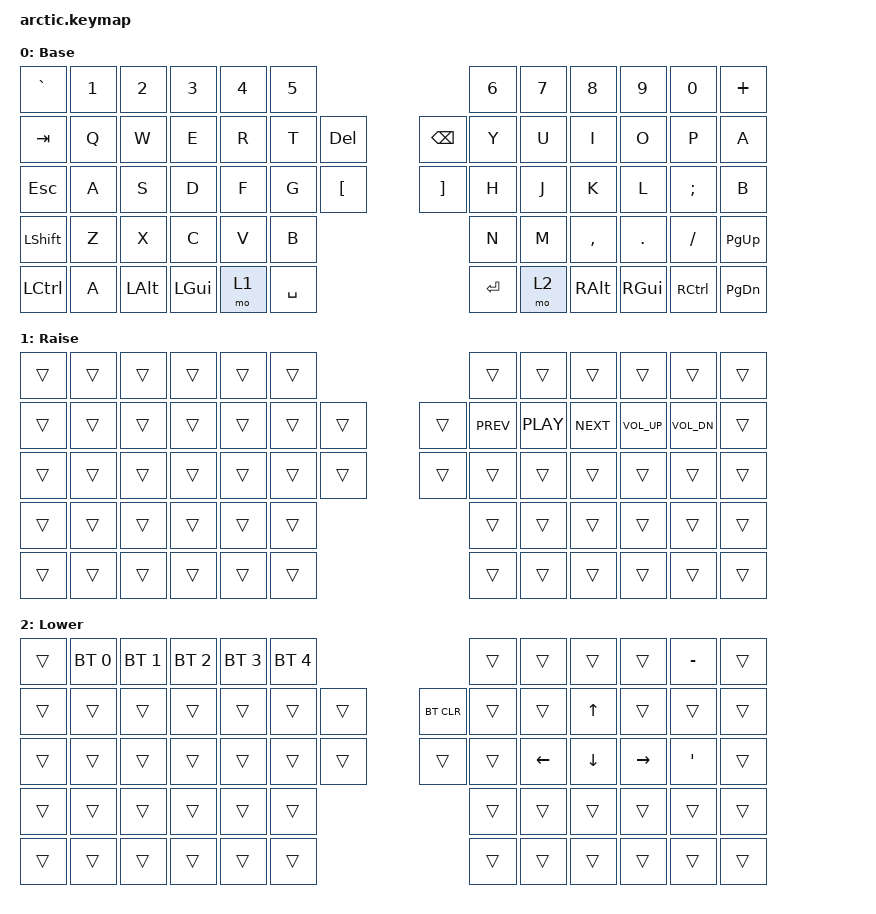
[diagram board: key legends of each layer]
/*
 * Copyright (c) 2020 The ZMK Contributors
 *
 * SPDX-License-Identifier: MIT
 */

#include <behaviors.dtsi>
#include <dt-bindings/zmk/keys.h>
#include <dt-bindings/zmk/bt.h>

/ {
        keymap {
                compatible = "zmk,keymap";

                base_layer {
                        display-name = "Base";
// -----------------------------------------------------------------------------------------
// | `~     |  1      |  2   |  3      |  4     |  5   |                                      |  6  |    7      |  8  |  9  |  0   | PLUS   |
// | TAB    |  Q      |  W   |  E      |  R     |  T   | DEL |              | BKS             |  Y  |    U      |  I  |  O  |  P   | HOME   |
// | ESC    |  A      |  S   |  D      |  F     |  G   |  [                 |  ]              |  H  |    J      |  K  |  L  |  ;   | END    |
// | SHIFT  |  Z      |  X   |  C      |  V     |  B   |                                      |  N  |    M      |  ,  |  .  |  \   | PGUP   |
// | CTRL   | FN      |      | ALT     | CMD    | UPP  | SPC |              | ENT             | LWR |   ALT     | CMD |     | CTRL | PGDOWN |
                        bindings = <
   &kp GRAVE &kp N1    &kp N2 &kp N3    &kp N4   &kp N5                                        &kp N6  &kp N7    &kp N8     &kp N9   &kp N0    &kp PLUS
   &kp TAB   &kp Q     &kp W  &kp E     &kp R    &kp T  &kp DEL              &kp BSPC          &kp Y   &kp U     &kp I      &kp O    &kp P     &kp A
   &kp ESC   &kp A     &kp S  &kp D     &kp F    &kp G  &kp LEFT_BRACKET     &kp RIGHT_BRACKET &kp H   &kp J     &kp K      &kp L    &kp SEMI  &kp B
   &kp LSHFT &kp Z     &kp X  &kp C     &kp V    &kp B                                         &kp N   &kp M     &kp COMMA  &kp DOT  &kp FSLH  &kp PAGE_UP
   &kp LCTRL &kp A        &kp LALT  &kp LGUI &mo 1  &kp SPACE            &kp RET           &mo 2   &kp RALT  &kp RGUI            &kp RCTRL &kp PAGE_DOWN
                        >;
                };
                raise_layer {
                        display-name = "Raise";
// -----------------------------------------------------------------------------------------
// |  |  |  |  |  |  |                   |      |      |      |        |          | |
// |  |  |  |  |  |  |  |              | | PREV | PLAY | NEXT | VOL UP | VOL DOWN | |
// |  |  |  |  |  |  |  |              | |      |      |      |        |          | |
// |  |  |  |  |  |  |                   |      |      |      |        |          | |
// |  |  |  |  |  |  |  |              | |      |      |      |        |          | |
                        bindings = <
   &trans &trans &trans &trans &trans &trans                   &trans  &trans  &trans  &trans    &trans    &trans
   &trans &trans &trans &trans &trans &trans &trans     &trans &kp C_PREV &kp C_PLAY &kp C_NEXT &kp C_VOL_UP &kp C_VOL_DN &trans
   &trans &trans &trans &trans &trans &trans &trans     &trans &trans  &trans  &trans  &trans    &trans    &trans
   &trans &trans &trans &trans &trans &trans                   &trans  &trans  &trans  &trans    &trans    &trans
   &trans        &trans &trans &trans &trans &trans     &trans &trans  &trans  &trans  &trans              &trans
                        >;
                };

                lower_layer {
                        display-name = "Lower";
                        // -----------------------------------------------------------------------------------------
// |  | BT1  | BT2 | BT3 | BT4 | BT5 |                   | |     |      |       | MINUS | |
// |  |  |  |  |  |  |  |              | BTCLR | |     |  UP  |       |       | |
// |  |  |  |  |  |  |  |              | | | LEFT| DOWN | RIGHT | QUOTE | |
// |  |  |  |  |  |  |                   | |     |      |       |       | |
// |  |  |  |  |  |  |  |              | | |     |      |       |       | |
                        bindings = <
   &trans &bt BT_SEL 0  &bt BT_SEL 1 &bt BT_SEL 2  &bt BT_SEL 3  &bt BT_SEL 4                       &trans &trans         &trans         &trans          &kp MINUS           &trans
   &trans &trans        &trans       &trans        &trans        &trans       &trans        &bt BT_CLR &trans &trans         &kp UP_ARROW   &trans          &trans           &trans
   &trans &trans        &trans       &trans        &trans        &trans       &trans        &trans     &trans &kp LEFT_ARROW &kp DOWN_ARROW &kp RIGHT_ARROW &kp SINGLE_QUOTE &trans
   &trans &trans        &trans       &trans        &trans        &trans                                &trans &trans         &trans         &trans          &trans           &trans
   &trans               &trans       &trans        &trans        &trans       &trans        &trans     &trans &trans         &trans         &trans                           &trans
                        >;

                };
        };
};

// TEMPLATE
// --------
//                 raise_layer {
// // -----------------------------------------------------------------------------------------
// // |  |  |  |  |  |  |                   | | | | | | |
// // |  |  |  |  |  |  |  |              | | | | | | | |
// // |  |  |  |  |  |  |  |              | | | | | | | |
// // |  |  |  |  |  |  |                   | | | | | | |
// // |  |  |  |  |  |  |  |              | | | | | | | |
//                         bindings = <
//    &trans &trans &trans &trans &trans &trans                   &trans &trans &trans &trans &trans &trans
//    &trans &trans &trans &trans &trans &trans &trans     &trans &trans &trans &trans &trans &trans &trans
//    &trans &trans &trans &trans &trans &trans &trans     &trans &trans &trans &trans &trans &trans &trans
//    &trans &trans &trans &trans &trans &trans                   &trans &trans &trans &trans &trans &trans
//    &trans        &trans &trans &trans &trans &trans     &trans &trans &trans &trans &trans        &trans
//                         >;
//                 };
